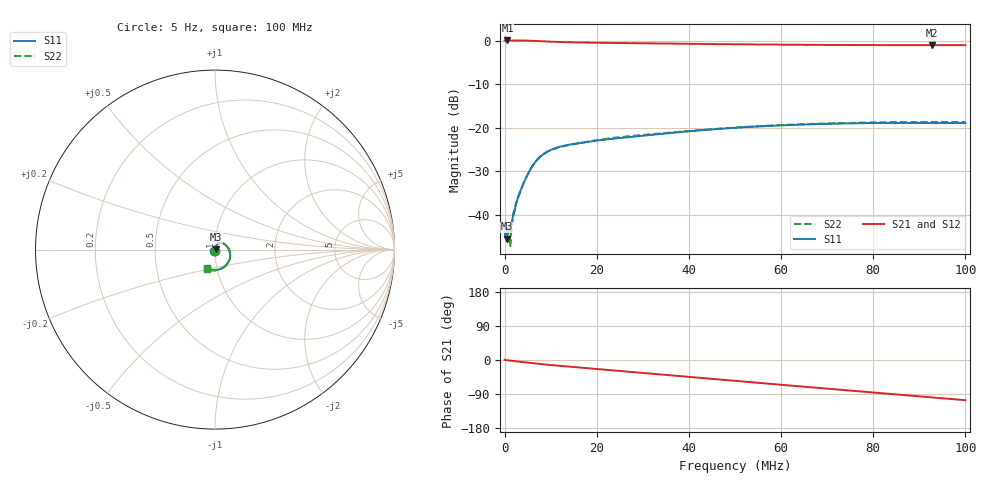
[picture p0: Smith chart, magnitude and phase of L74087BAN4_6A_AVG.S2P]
!Agilent Technologies,E5061B,MY49102235,A.02.00
!Date: Tue Jul 11 16:15:31 2023
!Data & Calibration Information:
!Freq	S11:SOLT2(ON)	S21:SOLT2(ON)	S12:SOLT2(ON)	S22:SOLT2(ON)
# Hz S RI R 50
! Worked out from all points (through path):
!   1600 points, 5 Hz to 100 MHz, reference 50 ohm
!   highest |S21| = 0.02 dB at 625.4 kHz (marker M1); lowest = -1.1 dB at 92.68 MHz (marker M2)
!   group delay of S21, straight-line fit = 2.88 ns
!   lowest |S11| = -45.4 dB at 500.3 kHz (marker M3), VSWR 1.01, Z = 50.5 + j0.265 ohm
!   |S11| at or under -10 dB: start of sweep to end of sweep
!   |S22| runs from -47.1 to -18.6 dB; largest |S21 - S12| = 0.0025
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5  -0.00528 -0.00565  1.002 0.00812  1 0.0102  -0.00151 -0.00754
500317.7  0.00469 0.00263  1.001 -0.0108  1.002 -0.0107  0.00491 0.00103
625395.8  0.00523 0.00323  1.002 -0.0143  1.002 -0.014  0.00623 0.00284
938091.3  0.00456 0.00534  1.001 -0.0206  1.001 -0.0205  0.00614 0.00478
1313326  0.00489 0.00586  1.001 -0.0294  1.001 -0.0297  0.00311 0.00432
1688560  0.00447 0.00769  0.9999 -0.0397  1.001 -0.0397  0.00418 0.00686
2063795  0.00401 0.0103  1 -0.0487  0.9999 -0.0492  0.00445 0.0101
2376490  0.00445 0.0118  0.9986 -0.0559  0.9992 -0.0564  0.00511 0.0121
2939342  0.00598 0.0149  0.9978 -0.0696  0.9974 -0.07  0.00495 0.0153
3502194  0.00684 0.0179  0.9962 -0.0835  0.9961 -0.0835  0.00593 0.0185
5065671  0.0111 0.0275  0.9895 -0.1224  0.9895 -0.1223  0.0107 0.0278
6816765  0.0215 0.0356  0.9756 -0.1639  0.9755 -0.164  0.021 0.0361
8317703  0.0318 0.0379  0.9606 -0.1946  0.9606 -0.1946  0.0316 0.0383
1.044403e7  0.0446 0.0354  0.9403 -0.232  0.9402 -0.2317  0.0439 0.0356
1.669794e7  0.0643 0.0202  0.8896 -0.3294  0.8895 -0.3293  0.0641 0.0202
2.332708e7  0.0746 0.006  0.835 -0.4299  0.8348 -0.4299  0.0763 0.00483
3.333334e7  0.0827 -0.0175  0.7313 -0.5682  0.7312 -0.5681  0.0838 -0.0186
5.003127e7  0.0783 -0.0625  0.5169 -0.7448  0.5168 -0.7447  0.0781 -0.0636
6.672921e7  0.0447 -0.1003  0.2722 -0.8498  0.2724 -0.8499  0.0455 -0.1013
8.33646e7  -0.00106 -0.1135  0.0146 -0.886  0.0145 -0.8862  -0.000962 -0.1159
9.268293e7  -0.0272 -0.1101  -0.1318 -0.8752  -0.1318 -0.8754  -0.0276 -0.1134
1e8  -0.0462 -0.1038  -0.2454 -0.8509  -0.2454 -0.8509  -0.0466 -0.1068
